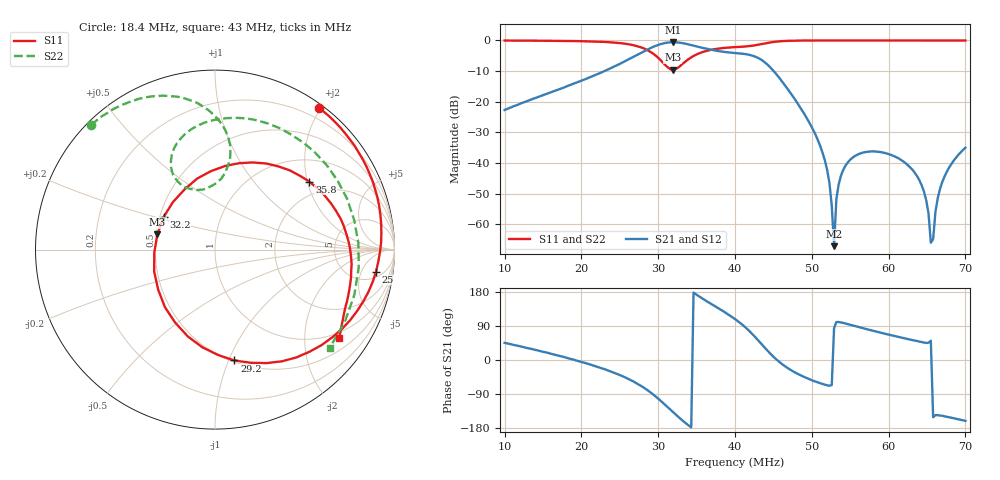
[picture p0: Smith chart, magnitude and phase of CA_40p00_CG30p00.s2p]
#  HZ  S  RI  R  50.00
! Rohde & Schwarz ZVT8 8Ports - Version 4.11 - 1300.0000k08 SN: 100242
! Date: 2026-07-31 14:49:59
! Measurements: S11 S21 S12 S22
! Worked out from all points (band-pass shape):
!   201 points, 10 MHz to 70 MHz, reference 50 ohm
!   highest |S21| = -0.59 dB at 31.9 MHz (marker M1); lowest = -67.1 dB at 52.9 MHz (marker M2)
!   |S21| within 3 dB of the highest: 28.12 MHz to 38.17 MHz (10.05 MHz wide, 30.3 % of centre)
!   lowest |S11| = -9.6 dB at 31.9 MHz (marker M3), VSWR 1.99, Z = 25.4 + j4.92 ohm
!   |S11| at or under -10 dB: nowhere
!   |S22| runs from -9.3 to 0.0 dB; largest |S21 - S12| = 0.0032
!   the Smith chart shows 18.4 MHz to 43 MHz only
!   S11 on the Smith chart (normalised r, x): 18.4 MHz: 0.05, +1.98; 25 MHz: 7, -10; 29.2 MHz: 0.52, -1.05; 32.2 MHz: 0.52, +0.22; 35.8 MHz: 1.57, +2.05; 43 MHz: 0.82, -2.92
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1e7  -0.4042 0.9107  0.0516 0.0522  0.0512 0.0523  -0.9194 0.3841
1.84e7  0.5816 0.789  0.1846 0.0125  0.1838 0.0129  -0.6913 0.6943
2.02e7  0.7518 0.6133  0.2244 -0.024  0.2236 -0.0238  -0.6117 0.7532
2.5e7  0.8972 -0.1225  0.3192 -0.2654  0.3191 -0.2659  -0.2936 0.8576
2.92e7  0.108 -0.6178  0.0202 -0.7696  0.0177 -0.7685  0.0728 0.6275
3.01e7  -0.151 -0.4844  -0.2034 -0.8292  -0.2028 -0.8297  0.0834 0.504
3.19e7  -0.3208 0.0862  -0.6849 -0.6359  -0.6837 -0.6353  -0.0635 0.3354
3.22e7  -0.286 0.1823  -0.7414 -0.5663  -0.7405 -0.5653  -0.0996 0.3316
3.58e7  0.5254 0.3789  -0.7162 0.2386  -0.7166 0.2382  -0.1908 0.6194
4e7  0.7534 -0.1914  -0.194 0.5918  -0.1931 0.5919  0.494 0.5948
4.3e7  0.6926 -0.4938  0.3183 0.4107  0.3177 0.4108  0.6392 -0.5465
4.63e7  0.4389 -0.8726  0.1955 -0.0467  0.1953 -0.0467  -0.7904 -0.564
5.02e7  -0.0759 -0.9948  0.0198 -0.0281  0.0199 -0.028  -0.9549 0.2805
5.2e7  -0.2984 -0.9533  0.00305 -0.00711  0.00306 -0.00708  -0.866 0.4895
5.29e7  -0.4021 -0.9131  4.64e-05 0.00044  4.39e-05 0.000441  -0.8178 0.5682
5.32e7  -0.4344 -0.8988  -0.000461 0.00255  -0.000459 0.00253  -0.8015 0.5923
5.44e7  -0.5589 -0.826  -0.000971 0.00907  -0.000985 0.00904  -0.7336 0.6734
6.01e7  -0.948 -0.3059  0.00549 0.0128  0.00552 0.0127  -0.4242 0.9018
6.4e7  -0.9865 0.1343  0.0035 0.00395  0.00349 0.00392  -0.2273 0.9713
6.55e7  -0.9503 0.2999  0.000317 0.000391  0.000316 0.000398  -0.1541 0.984
6.7e7  -0.8845 0.4579  -0.00417 -0.00269  -0.00415 -0.00266  -0.0822 0.9928
7e7  -0.6781 0.7299  -0.0168 -0.00592  -0.0168 -0.00588  0.0573 0.9952
